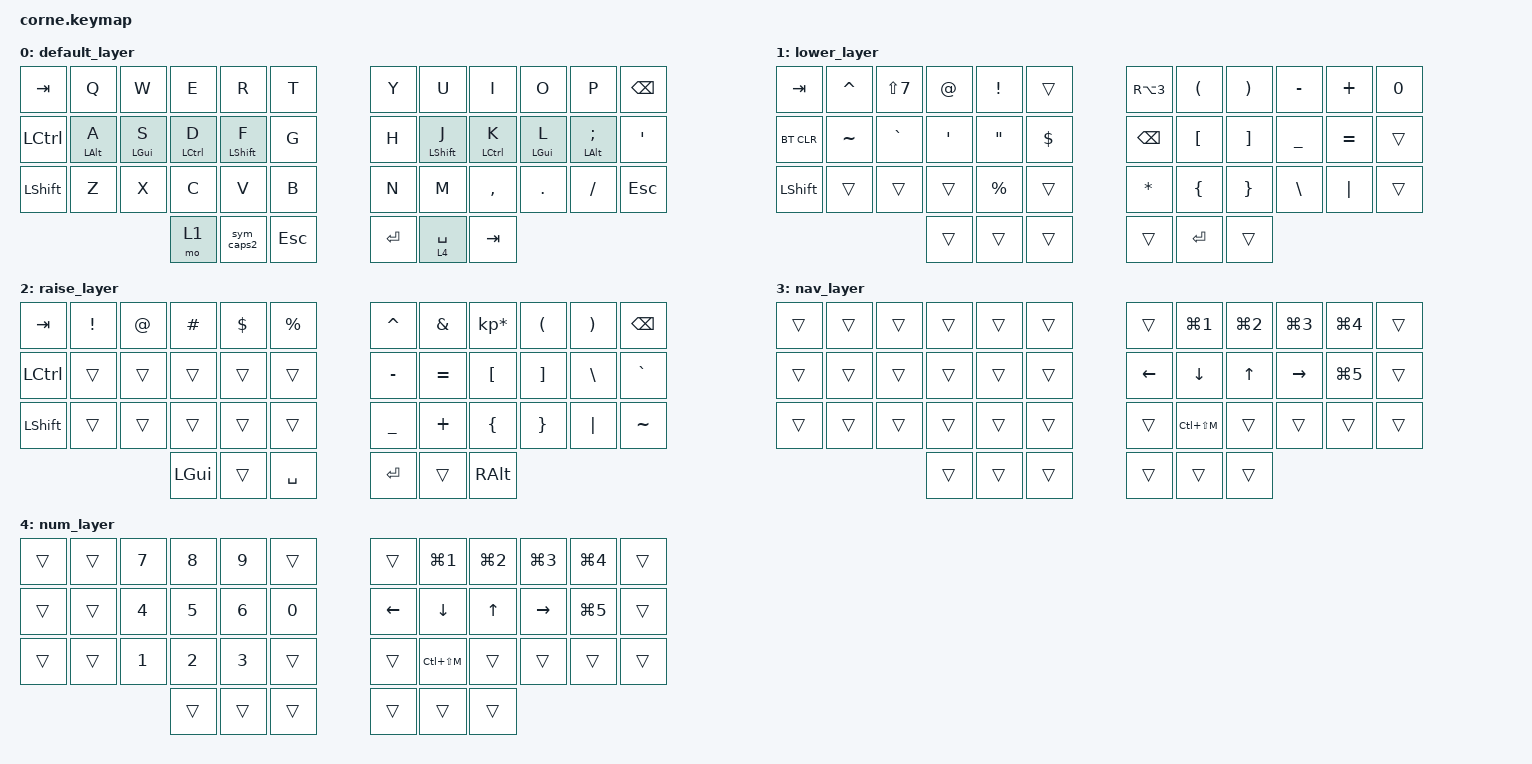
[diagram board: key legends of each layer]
/*
 * Copyright (c) 2020 The ZMK Contributors
 *
 * SPDX-License-Identifier: MIT
 */


#include <behaviors.dtsi>
#include <dt-bindings/zmk/keys.h>
#include <dt-bindings/zmk/bt.h>
#include "key_labels_42.h"

#define KEYS_L LT0 LT1 LT2 LT3 LT4 LM0 LM1 LM2 LM3 LM4 LB0 LB1 LB2 LB3 LB4  // Left-hand keys.
#define KEYS_R RT0 RT1 RT2 RT3 RT4 RM0 RM1 RM2 RM3 RM4 RB0 RB1 RB2 RB3 RB4  // Right-hand keys.
#define THUMBS LH2 LH1 LH0 RH0 RH1 RH2  

/ {
        combos {
            compatible = "zmk,combos";
            combo_nav {
                timeout-ms = <50>;
                key-positions = <LM2 LM1>;
                bindings = <&mo 3>;
            };
            combo_num {
                timeout-ms = <50>;
                key-positions = <RM1 RM2>;
                bindings = <&mo 4>;
            };
        };

        behaviors {
            hml: home_row_mod_left {
                compatible = "zmk,behavior-hold-tap";
                #binding-cells = <2>;
                flavor = "balanced";
                require-prior-idle-ms = <150>;
                tapping-term-ms = <280>;
                quick-tap-ms = <175>;
                bindings = <&kp>, <&kp>;
                hold-trigger-key-positions = <KEYS_R THUMBS>; // List of keys on the right side of the keyboard
                hold-trigger-on-release;
            };
            hmr: home_row_mod_right {
                compatible = "zmk,behavior-hold-tap";
                #binding-cells = <2>;
                flavor = "balanced";
                require-prior-idle-ms = <150>;
                tapping-term-ms = <280>;
                quick-tap-ms = <175>;
                bindings = <&kp>, <&kp>;
                hold-trigger-key-positions = <KEYS_L THUMBS>; // List of keys on the left side of the keyboard
                hold-trigger-on-release;
            };
            sym_caps: sym_caps_lock {
                compatible = "zmk,behavior-hold-tap";
                #binding-cells = <2>;
                tapping-term-ms = <200>;
                bindings = <&mo>, <&caps_word>;
            };
            space_num: space_num_layer {
                compatible = "zmk,behavior-hold-tap";
                #binding-cells = <2>;
                tapping-term-ms = <200>;
                bindings = <&mo>, <&kp>;
            };
            sym_caps2: caps_word_layer_tap_dance {
                compatible = "zmk,behavior-tap-dance";
                #binding-cells = <0>;
                bindings = <&mo 1>, <&caps_word>;
                tapping-term-ms = <200>;
            };
        };


        keymap {
                compatible = "zmk,keymap";

                default_layer {
// -----------------------------------------------------------------------------------------
// |  TAB |  Q  |  W  |  E  |  R  |  T  |   |  Y  |  U   |  I  |  O  |  P  | BKSP |
// | CTRL |  A  |  S  |  D  |  F  |  G  |   |  H  |  J   |  K  |  L  |  ;  |  '   |
// | SHFT |  Z  |  X  |  C  |  V  |  B  |   |  N  |  M   |  ,  |  .  |  /  | ESC  |
//                    | GUI | LWR | SPC |   | ENT | RSE  | ALT |
                        bindings = <
   &kp TAB   &kp Q       &kp W       &kp E         &kp R             &kp T   &kp Y   &kp U          &kp I         &kp O        &kp P          &kp BSPC
   &kp LCTRL &hml LALT A &hml LGUI S &hml LCTRL D  &hml LSHIFT F     &kp G   &kp H   &hmr LSHIFT J  &hmr LCTRL K  &hmr LGUI L  &hmr LALT SEMI &kp SQT
   &kp LSHFT &kp Z       &kp X       &kp C         &kp V             &kp B   &kp N   &kp M          &kp COMMA     &kp DOT      &kp FSLH       &kp ESC
                                                       &mo 1 &sym_caps2 &kp ESC   &kp RET &space_num 4 SPACE      &kp TAB
                        >;
                };
                /* keys needed:
                * -numbers
                * -symbols: ", ', !, @, £, $, %, ^, &, ~, `
                * -esc, tab
                */
                lower_layer {
// -----------------------------------------------------------------------------------------
// |  TAB |  1  |  2  |  3  |  4  |  5  |   |  6  |  7  |  8  |  9  |  0  | BKSP |
// | BTCLR| BT1 | BT2 | BT3 | BT4 | BT5 |   | LFT | DWN |  UP | RGT |     |      |
// | SHFT |     |     |     |     |     |   |     |     |     |     |     |      |
//                    | GUI |     | SPC |   | ENT |     | ALT |
                        bindings = <
   &kp TAB    &kp CARET   &kp LS(N7)  &kp AT    &kp EXCL  &trans     &kp RA(N3) &kp LPAR &kp RPAR &kp MINUS &kp PLUS  &kp N0
   &bt BT_CLR &kp TILDE   &kp GRAVE   &kp SQT   &kp DQT   &kp DLLR   &kp BSPC     &kp LBKT &kp RBKT &kp UNDER &kp EQUAL &trans
   &kp LSHFT  &trans      &trans      &trans    &kp PRCNT &trans     &kp STAR     &kp LBRC &kp RBRC &kp BSLH  &kp PIPE  &trans
                                	  &trans    &trans    &trans     &trans       &kp RET   &trans
                        >;
                };

                raise_layer {
// -----------------------------------------------------------------------------------------
// |  TAB |  !  |  @  |  #  |  $  |  %  |   |  ^  |  &  |  *  |  (  |  )  | BKSP |
// | CTRL |     |     |     |     |     |   |  -  |  =  |  [  |  ]  |  \  |  `   |
// | SHFT |     |     |     |     |     |   |  _  |  +  |  {  |  }  | "|" |  ~   |
//                    | GUI |     | SPC |   | ENT |     | ALT |
                        bindings = <
   &kp  TAB  &kp EXCL &kp AT &kp HASH &kp DLLR &kp PRCNT   &kp CARET &kp AMPS  &kp KP_MULTIPLY &kp LPAR &kp RPAR &kp BSPC
   &kp LCTRL &trans   &trans &trans   &trans   &trans      &kp MINUS &kp EQUAL &kp LBKT        &kp RBKT &kp BSLH &kp GRAVE
   &kp LSHFT &trans   &trans &trans   &trans   &trans      &kp UNDER &kp PLUS  &kp LBRC        &kp RBRC &kp PIPE &kp TILDE
                    	     &kp LGUI &trans   &kp SPACE   &kp RET   &trans    &kp RALT
                        >;
                };

                nav_layer {
                        bindings = <
   &trans &trans   &trans &trans   &trans   &trans      &trans   &kp LG(N1)    &kp LG(N2) &kp LG(N3) &kp LG(N4) &trans
   &trans &trans   &trans &trans   &trans   &trans      &kp LEFT &kp DOWN      &kp UP     &kp RIGHT  &kp LG(N5) &trans
   &trans &trans   &trans &trans   &trans   &trans      &trans   &kp LC(LS(M)) &trans     &trans     &trans     &trans
                    	    &trans &trans   &trans      &trans   &trans     &trans                                     
                        >;
                };

                num_layer {
                        bindings = <
   &trans &trans   &kp N7 &kp N8   &kp N9   &trans      &trans   &kp LG(N1)    &kp LG(N2) &kp LG(N3) &kp LG(N4) &trans
   &trans &trans   &kp N4 &kp N5   &kp N6   &kp N0      &kp LEFT &kp DOWN      &kp UP     &kp RIGHT  &kp LG(N5) &trans
   &trans &trans   &kp N1 &kp N2   &kp N3   &trans      &trans   &kp LC(LS(M)) &trans     &trans     &trans     &trans
                    	    &trans &trans   &trans      &trans   &trans     &trans                                     
                        >;
                };
        };
};
